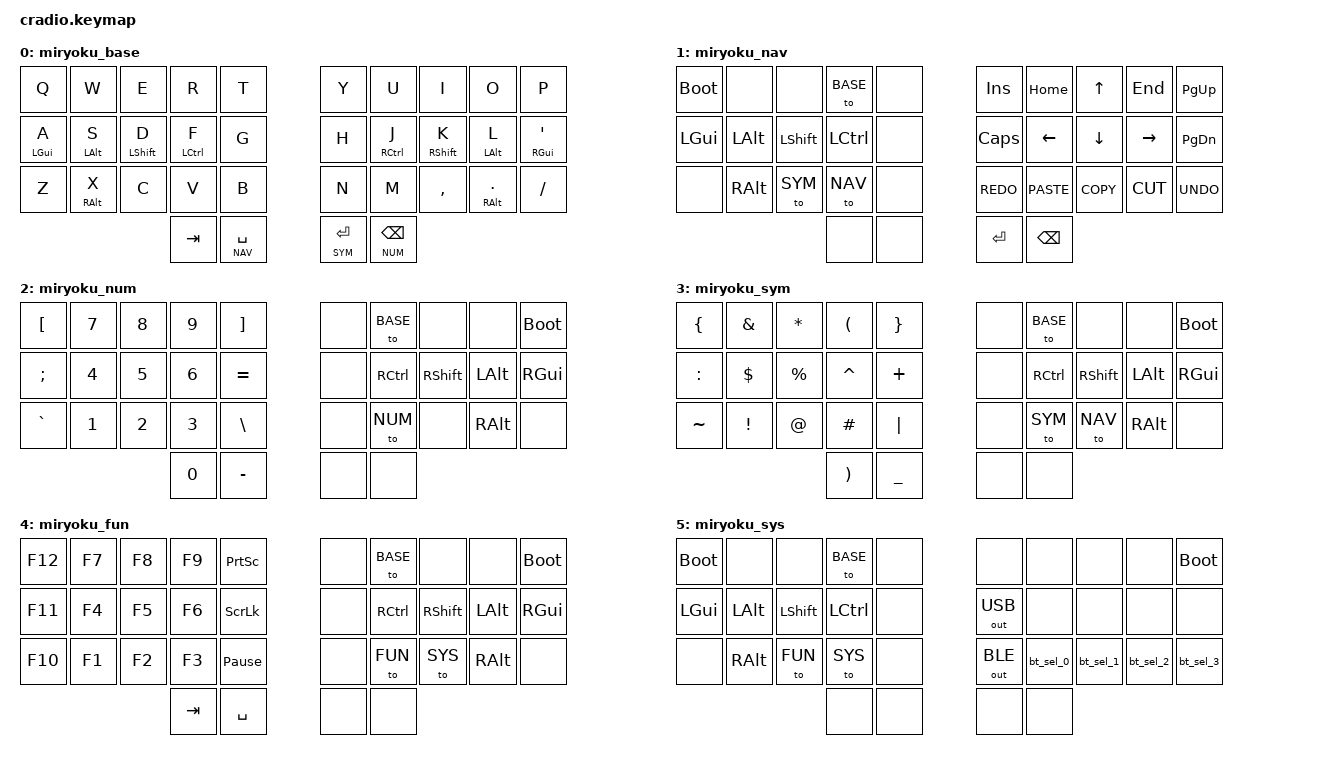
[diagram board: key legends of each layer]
/*
 * Copyright (c) 2020 The ZMK Contributors
 *
 * SPDX-License-Identifier: MIT
 */

#include <behaviors.dtsi>
#include <dt-bindings/zmk/keys.h>
#include <dt-bindings/zmk/bt.h>
#include <dt-bindings/zmk/outputs.h>

#define BASE 0
#define NAV  1
#define NUM  2
#define SYM  3
#define FUN  4
#define SYS  5

/ {
    behaviors {
        // Miryoku shift macros:
        // shift + BT_X -> &bt BT_SEL X &bt BT_CLR
        bt_sel_0: bt_sel_clr_0 {
            compatible = "zmk,behavior-mod-morph";
            label = "BT_SEL_OR_CLEAR_0";
            #binding-cells = <0>;
            bindings = <&bt BT_SEL 0>, <&macro_bt_clr_0>;
            mods = <(MOD_LSFT|MOD_RSFT)>;
        };
        bt_sel_1: bt_sel_clr_1 {
            compatible = "zmk,behavior-mod-morph";
            label = "BT_SEL_OR_CLEAR_1";
            #binding-cells = <0>;
            bindings = <&bt BT_SEL 1>, <&macro_bt_clr_1>;
            mods = <(MOD_LSFT|MOD_RSFT)>;
        };
        bt_sel_2: bt_sel_clr_2 {
            compatible = "zmk,behavior-mod-morph";
            label = "BT_SEL_OR_CLEAR_2";
            #binding-cells = <0>;
            bindings = <&bt BT_SEL 2>, <&macro_bt_clr_2>;
            mods = <(MOD_LSFT|MOD_RSFT)>;
        };
        bt_sel_3: bt_sel_clr_3 {
            compatible = "zmk,behavior-mod-morph";
            label = "BT_SEL_OR_CLEAR_3";
            #binding-cells = <0>;
            bindings = <&bt BT_SEL 3>, <&macro_bt_clr_3>;
            mods = <(MOD_LSFT|MOD_RSFT)>;
        };
        // Homerow modifiers
        hm: homerow_mods {
            compatible = "zmk,behavior-hold-tap";
            label = "HOMEROW_MODS";
            #binding-cells = <2>;
            tapping-term-ms = <200>;
            quick-tap-ms = <0>;
            flavor = "tap-preferred";
            bindings = <&kp>, <&kp>;
        };
        // G A S C      C S A G
        //   A              A
    };
    combos {
        compatible = "zmk,combos";
        combo_lt_base {
            // Left thumb: BASE, &lt SYS Esc
            timeout-ms = <50>;
            key-positions = <30 31>;
            layers = <BASE>;
            bindings = <&lt SYS ESC>;
        };
        combo_lt_num {
            // Left thumb: NUM - .
            timeout-ms = <50>;
            key-positions = <30 31>;
            layers = <NUM>;
            bindings = <&kp DOT>;
        };
        combo_lt_sym {
            // Left thumb: SYM - (
            timeout-ms = <50>;
            key-positions = <30 31>;
            layers = <NUM>;
            bindings = <&kp LEFT_PARENTHESIS>;
        };
        combo_lt_fun {
            // Left thumb: FUN - "application"
            timeout-ms = <50>;
            key-positions = <30 31>;
            layers = <FUN>;
            bindings = <&kp K_APPLICATION>;
        };
        combo_rt_base {
            // Right thumb: BASE, &lt FUN Del
            timeout-ms = <50>;
            key-positions = <32 33>;
            layers = <BASE>;
            bindings = <&lt FUN DELETE>;
        };
        combo_rt_nav {
            // Right thumb: NAV - Delete
            timeout-ms = <50>;
            key-positions = <32 33>;
            layers = <NAV>;
            bindings = <&kp DELETE>;
        };
    };
    macros {
        // Miryoku shift macros:
        // shift + BT_X -> &bt BT_SEL X &bt BT_CLR
        macro_bt_clr_0: macro_bt_clr_0 {
            label = "ma_bt_clear_0";
            compatible = "zmk,behavior-macro";
            #binding-cells = <0>;
            bindings = <&bt BT_SEL 0>, <&bt BT_CLR>;
        };
        macro_bt_clr_1: macro_bt_clr_2 {
            label = "ma_bt_clear_1";
            compatible = "zmk,behavior-macro";
            #binding-cells = <0>;
            bindings = <&bt BT_SEL 1>, <&bt BT_CLR>;
        };
        macro_bt_clr_2: macro_bt_clr_2 {
            label = "ma_bt_clear_2";
            compatible = "zmk,behavior-macro";
            #binding-cells = <0>;
            bindings = <&bt BT_SEL 2>, <&bt BT_CLR>;
        };
        macro_bt_clr_3: macro_bt_clr_3 {
            label = "ma_bt_clear_3";
            compatible = "zmk,behavior-macro";
            #binding-cells = <0>;
            bindings = <&bt BT_SEL 3>, <&bt BT_CLR>;
        };
    };
    keymap {
        compatible = "zmk,keymap";
        miryoku_base {
            // ------------------------------------------------------------------------
            // |  Q  |  W  |  E  |  R  |  T  |          |  Y  |  U  |  I  |  O  |  P  |
            // |  A  |  S  |  D  |  F  |  G  |          |  H  |  J  |  K  |  L  |  '  |
            // |  Z  |  X  |  C  |  V  |  B  |          |  N  |  M  |  ,  |  .  |  /  |
            //                   | Tab |SPACE|          |ENTER|BkSpc|
            //                          (NAV)            (SYM) (NUM)
            //                        Esc                    Del
            //                       (SYS)                  (FUN)
            bindings = <
                &kp Q      &kp W      &kp E       &kp R         &kp T                 &kp Y         &kp U       &kp I       &kp O        &kp P
                &hm LGUI A &hm LALT S &hm LSHFT D &hm LCTRL F   &kp G                 &kp H         &hm RCTRL J &hm RSHFT K &hm LALT L   &hm RGUI QUOT
                &kp Z      &hm RALT X &kp C       &kp V         &kp B                 &kp N         &kp M       &kp COMMA   &hm RALT DOT &kp FSLH
                                                  &kp TAB       &lt NAV SPACE         &lt SYM ENTER &lt NUM BACKSPACE
            >;
        };
        miryoku_nav {
            // ------------------------------------------------------------------------
            // |BOOTL|     |     |BASE |     |          | Ins |Home |  Up | End |PgUp |
            // |LGUI |LAlt |LShft|LCtrl|     |          |CapsL|Left |Down |Right|PgDn |
            // |     |RAlt | SYM | NAV |     |          |Redo |Paste|Copy | Cut |Undo |
            //                   |     |     |          |ENTER|BkSpc|
            bindings = <
                &bootloader &none    &none     &to BASE  &none             &kp INSERT   &kp HOME    &kp UP     &kp END   &kp PAGE_UP
                &kp LGUI    &kp LALT &kp LSHFT &kp LCTRL &none             &kp CAPSLOCK &kp LEFT    &kp DOWN   &kp RIGHT &kp PAGE_DOWN
                &none       &kp RALT &to SYM   &to NAV   &none             &kp K_REDO   &kp K_PASTE &kp K_COPY &kp K_CUT &kp K_UNDO
                                               &none     &none             &kp ENTER    &kp BACKSPACE
            >;
        };
        miryoku_num {
            // ------------------------------------------------------------------------
            // |  [  |  7  |  8  |  9  |  ]  |          |     |BASE |     |     |BOOTL|
            // |  ;  |  4  |  5  |  6  |  =  |          |     |RCtrl|RShft|LAlt |RGUI |
            // |  `  |  1  |  2  |  3  |  \  |          |     | NUM |     |RAlt |     |
            //                   |  0  |  -  |          |     |     |
            bindings = <
                &kp LBKT  &kp N7 &kp N8 &kp N9 &kp RBKT             &none &to BASE  &none     &none    &bootloader
                &kp SEMI  &kp N4 &kp N5 &kp N6 &kp EQUAL            &none &kp RCTRL &kp RSHFT &kp LALT &kp RGUI
                &kp GRAVE &kp N1 &kp N2 &kp N3 &kp BSLH             &none &to NUM   &none     &kp RALT &none
                                        &kp N0 &kp MINUS            &none &none
            >;
        };
        miryoku_sym {
            // ------------------------------------------------------------------------
            // |  {  |  &  |  *  |  (  |  }  |          |     |BASE |     |     |BOOTL|
            // |  :  |  $  |  %  |  ^  |  +  |          |     |RCtrl|RShft|LAlt |RGUI |
            // |  ~  |  !  |  @  |  #  |  |  |          |     | SYM | NAV |RAlt |     |
            //                   |  )  |  _  |          |     |     |
            bindings = <
                &kp LBRC  &kp AMPS   &kp STAR    &kp LPAR  &kp RBRC             &none &to BASE  &none     &none    &bootloader
                &kp COLON &kp DOLLAR &kp PERCENT &kp CARET &kp PLUS             &none &kp RCTRL &kp RSHFT &kp LALT &kp RGUI
                &kp TILDE &kp EXCL   &kp AT_SIGN &kp HASH  &kp PIPE             &none &to SYM   &to NAV   &kp RALT &none
                                                 &kp RPAR  &kp UNDERSCORE       &none &none
            >;
        };
        miryoku_fun {
            // ------------------------------------------------------------------------
            // | F12 | F7  | F8  | F9  |PrnSc|          |     |BASE |     |     |BOOTL|
            // | F11 | F4  | F5  | F6  |ScrLK|          |     |RCtrl|RShft|LAlt |RGUI |
            // | F10 | F1  | F2  | F3  |Pause|          |     | FUN | SYS |RAlt |     |
            //                   | Tab |SPACE|          |     |     |
            bindings = <
                &kp F12 &kp F7 &kp F8 &kp F9    &kp PRINTSCREEN             &none &to BASE  &none     &none    &bootloader
                &kp F11 &kp F4 &kp F5 &kp F6    &kp SCROLLLOCK              &none &kp RCTRL &kp RSHFT &kp LALT &kp RGUI
                &kp F10 &kp F1 &kp F2 &kp F3    &kp PAUSE_BREAK             &none &to FUN   &to SYS   &kp RALT &none
                                      &kp TAB   &kp SPACE                   &none &none
            >;
        };
        miryoku_sys {
            // ------------------------------------------------------------------------
            // |BOOTL|     |     |BASE |     |          |     |     |     |     |BOOTL|
            // |LGUI |LAlt |LShft|LCtrl|     |          |OUT_U|     |     |     |     |
            // |     |RAlt | FUN | SYS |     |          |OUT_B|BT_0 |BT_1 |BT_2 |BT_3 |
            //                   |     |     |          |     |     |
            bindings = <
                &bootloader &none    &none     &to BASE  &none                     &none        &none     &none     &none     &bootloader
                &kp LGUI    &kp LALT &kp LSHFT &kp LCTRL &none                     &out OUT_USB &none     &none     &none     &none
                &none       &kp RALT &to FUN   &to SYS   &none                     &out OUT_BLE &bt_sel_0 &bt_sel_1 &bt_sel_2 &bt_sel_3
                                               &none     &none                     &none        &none
            >;
        };
    };
};
